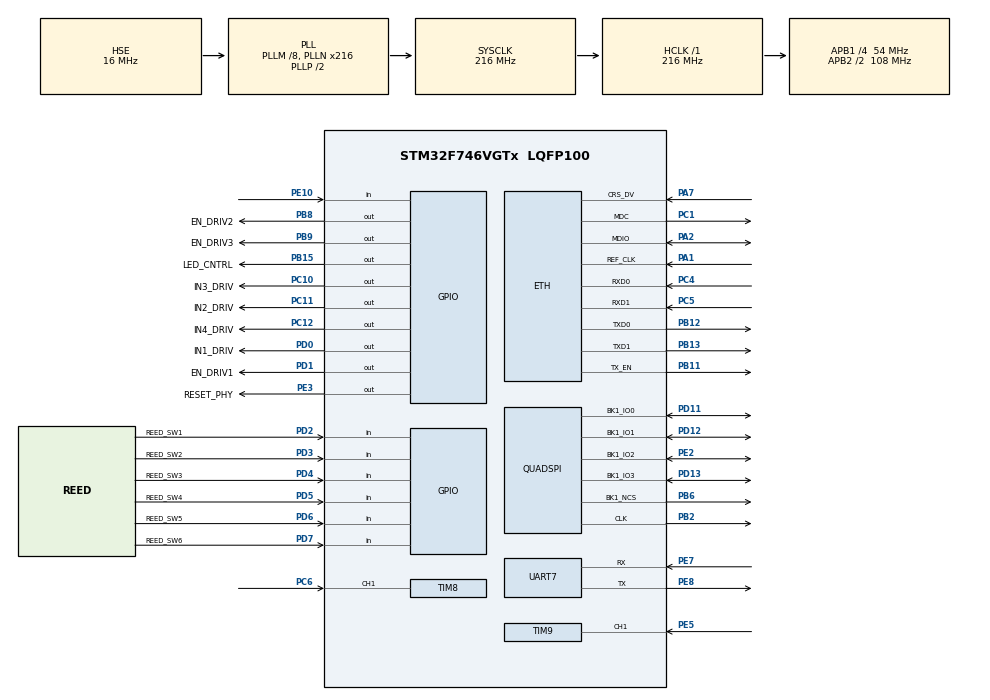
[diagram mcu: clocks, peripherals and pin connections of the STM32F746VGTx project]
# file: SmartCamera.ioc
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CORTEX_M7.AccessPermission_S-Cortex_Memory_Protection_Unit_Region1_Settings_S=MPU_REGION_FULL_ACCESS
CORTEX_M7.AccessPermission_Spec=MPU_REGION_FULL_ACCESS
CORTEX_M7.BaseAddress_S-Cortex_Memory_Protection_Unit_Region1_Settings_S=0x2004C000
CORTEX_M7.BaseAddress_Spec=0x90000000
CORTEX_M7.CPU_ICache=Disabled
CORTEX_M7.DisableExec_S-Cortex_Memory_Protection_Unit_Region1_Settings_S=MPU_INSTRUCTION_ACCESS_DISABLE
CORTEX_M7.Enable_S-Cortex_Memory_Protection_Unit_Region1_Settings_S=MPU_REGION_ENABLE
CORTEX_M7.IsCacheable_Spec=MPU_ACCESS_CACHEABLE
CORTEX_M7.IsShareable_S-Cortex_Memory_Protection_Unit_Region1_Settings_S=MPU_ACCESS_SHAREABLE
CORTEX_M7.IsShareable_Spec=MPU_ACCESS_NOT_SHAREABLE
CORTEX_M7.MPU_Control=__NULL
CORTEX_M7.Size_S-Cortex_Memory_Protection_Unit_Region1_Settings_S=MPU_REGION_SIZE_512B
CORTEX_M7.Size_Spec=MPU_REGION_SIZE_8MB
CORTEX_M7.SubRegionDisable_Spec=0x00
CORTEX_M7.default_mode_Activation=1
ETH.MediaInterface=HAL_ETH_RMII_MODE
ETH.RxMode=ETH_RXINTERRUPT_MODE
FREERTOS.Tasks01=defaultTask,24,256,StartDefaultTask,Default,NULL,Dynamic,NULL,NULL
LWIP.BSP.number=1
LWIP.DEFAULT_THREAD_STACKSIZE=2048
LWIP.GATEWAY_ADDRESS=192.168.100.001
LWIP.HTTPD_ENABLE_HTTPS=0
LWIP.HTTPD_SERVER_AGENT="Variofocus"
LWIP.IP_ADDRESS=192.168.100.010
LWIP.LWIP_DHCP=0
LWIP.LWIP_HTTPD=1
LWIP.LWIP_HTTPD_CGI=1
LWIP.LWIP_HTTPD_CUSTOM_FILES=1
LWIP.LWIP_HTTPD_DYNAMIC_FILE_READ=1
LWIP.LWIP_HTTPD_DYNAMIC_HEADERS=1
LWIP.LWIP_HTTPD_SSI=1
LWIP.LWIP_HTTPD_SSI_BY_FILE_EXTENSION=1
LWIP.LWIP_HTTPD_SUPPORT_POST=0
LWIP.MEM_SIZE=1024 * 10
LWIP.NETMASK_ADDRESS=255.255.255.000
LWIP.TCPIP_THREAD_STACKSIZE=2048
LWIP.Version=v2.1.2_Cube
LWIP0.BSP.STBoard=false
LWIP0.BSP.api=BSP_COMPONENT_DRIVER
LWIP0.BSP.component=LAN8742
LWIP0.BSP.instance=LAN8742
LWIP0.BSP.name=Driver_PHY
LWIP0.BSP.semaphore=S_LAN8742
LWIP0.BSP.solution=LAN8742
Mcu.Family=STM32F7
Mcu.Name=STM32F746VGTx
Mcu.Package=LQFP100
NVIC.ETH_IRQn=true\:5\:0\:false\:false\:true\:true\:false\:true\:true
NVIC.PriorityGroup=NVIC_PRIORITYGROUP_4
NVIC.TIM1_BRK_TIM9_IRQn=true\:5\:0\:false\:false\:true\:true\:true\:true\:true
NVIC.TIM1_UP_TIM10_IRQn=true\:15\:0\:false\:false\:true\:false\:false\:true\:true
NVIC.TIM8_CC_IRQn=true\:5\:0\:false\:false\:true\:true\:true\:true\:true
NVIC.TimeBase=TIM1_UP_TIM10_IRQn
NVIC.TimeBaseIP=TIM1
NVIC.UART7_IRQn=true\:5\:0\:false\:false\:true\:true\:true\:true\:true
PA1.Mode=RMII
PA1.Signal=ETH_REF_CLK
PA13.Mode=Serial_Wire
PA13.Signal=SYS_JTMS-SWDIO
PA14.Mode=Serial_Wire
PA14.Signal=SYS_JTCK-SWCLK
PA2.Mode=RMII
PA2.Signal=ETH_MDIO
PA7.Mode=RMII
PA7.Signal=ETH_CRS_DV
PB11.Mode=RMII
PB11.Signal=ETH_TX_EN
PB12.Mode=RMII
PB12.Signal=ETH_TXD0
PB13.Mode=RMII
PB13.Signal=ETH_TXD1
PB15.GPIO_Label=LED_CNTRL
PB15.Signal=GPIO_Output
PB2.Mode=Single Bank 1
PB2.Signal=QUADSPI_CLK
PB6.Mode=Single Bank 1
PB6.Signal=QUADSPI_BK1_NCS
PB8.GPIO_Label=EN_DRIV2
PB8.Signal=GPIO_Output
PB9.GPIO_Label=EN_DRIV3
PB9.Signal=GPIO_Output
PC1.Mode=RMII
PC1.Signal=ETH_MDC
PC10.GPIO_Label=IN3_DRIV
PC10.Signal=GPIO_Output
PC11.GPIO_Label=IN2_DRIV
PC11.Signal=GPIO_Output
PC12.GPIO_Label=IN4_DRIV
PC12.Signal=GPIO_Output
PC4.Mode=RMII
PC4.Signal=ETH_RXD0
PC5.Mode=RMII
PC5.Signal=ETH_RXD1
PC6.GPIO_PuPd=GPIO_PULLDOWN
PC6.GPIO_Speed=GPIO_SPEED_FREQ_VERY_HIGH
PC6.Signal=S_TIM8_CH1
PD0.GPIO_Label=IN1_DRIV
PD0.Signal=GPIO_Output
PD1.GPIO_Label=EN_DRIV1
PD1.Signal=GPIO_Output
PD11.Mode=Single Bank 1
PD11.Signal=QUADSPI_BK1_IO0
PD12.Mode=Single Bank 1
PD12.Signal=QUADSPI_BK1_IO1
PD13.Mode=Single Bank 1
PD13.Signal=QUADSPI_BK1_IO3
PD2.GPIO_Label=REED_SW1
PD2.GPIO_PuPd=GPIO_PULLDOWN
PD2.Signal=GPIO_Input
PD3.GPIO_Label=REED_SW2
PD3.GPIO_PuPd=GPIO_PULLDOWN
PD3.Signal=GPIO_Input
PD4.GPIO_Label=REED_SW3
PD4.GPIO_PuPd=GPIO_PULLDOWN
PD4.Signal=GPIO_Input
PD5.GPIO_Label=REED_SW4
PD5.GPIO_PuPd=GPIO_PULLDOWN
PD5.Signal=GPIO_Input
PD6.GPIO_Label=REED_SW5
PD6.GPIO_PuPd=GPIO_PULLDOWN
PD6.Signal=GPIO_Input
PD7.GPIO_Label=REED_SW6
PD7.GPIO_PuPd=GPIO_PULLDOWN
PD7.Signal=GPIO_Input
PE10.Signal=GPIO_Input
PE2.Mode=Single Bank 1
PE2.Signal=QUADSPI_BK1_IO2
PE3.GPIO_Label=RESET_PHY
PE3.PinState=GPIO_PIN_SET
PE3.Signal=GPIO_Output
PE5.Signal=S_TIM9_CH1
PE7.Mode=Asynchronous
PE7.Signal=UART7_RX
PE8.Mode=Asynchronous
PE8.Signal=UART7_TX
PH0/OSC_IN.Mode=HSE-External-Oscillator
PH0/OSC_IN.Signal=RCC_OSC_IN
PH1/OSC_OUT.Mode=HSE-External-Oscillator
PH1/OSC_OUT.Signal=RCC_OSC_OUT
ProjectManager.HeapSize=0x200
ProjectManager.StackSize=0x400
ProjectManager.TargetToolchain=CMake
QUADSPI.ChipSelectHighTime=QSPI_CS_HIGH_TIME_2_CYCLE
QUADSPI.ClockPrescaler=7
QUADSPI.FifoThreshold=4
QUADSPI.FlashSize=22
QUADSPI.SampleShifting=QSPI_SAMPLE_SHIFTING_HALFCYCLE
RCC.AHBFreq_Value=216000000
RCC.APB1CLKDivider=RCC_HCLK_DIV4
RCC.APB1Freq_Value=54000000
RCC.APB1TimFreq_Value=108000000
RCC.APB2CLKDivider=RCC_HCLK_DIV2
RCC.APB2Freq_Value=108000000
RCC.APB2TimFreq_Value=216000000
RCC.CortexFreq_Value=216000000
RCC.HCLKFreq_Value=216000000
RCC.HSE_VALUE=16000000
RCC.HSI_VALUE=16000000
RCC.LSE_VALUE=32768
RCC.PLLM=8
RCC.PLLN=216
RCC.PLLQ=9
RCC.PLLSourceVirtual=RCC_PLLSOURCE_HSE
RCC.SYSCLKFreq_VALUE=216000000
RCC.SYSCLKSource=RCC_SYSCLKSOURCE_PLLCLK
RCC.USBFreq_Value=48000000
RCC.VCOOutputFreq_Value=432000000
SH.S_TIM8_CH1.0=TIM8_CH1,TriggerSource_TI1FP1
SH.S_TIM8_CH1.1=TIM8_CH1,Input_Capture1_from_TI1
SH.S_TIM9_CH1.0=TIM9_CH1,Input_Capture1_from_TI1
SH.S_TIM9_CH1.1=TIM9_CH1,TriggerSource_TI1FP1
TIM8.Channel-Input_Capture1_from_TI1=TIM_CHANNEL_1
TIM8.Channel-Input_Capture2_from_TI1_63=TIM_CHANNEL_2
TIM8.ICPolarity_CH2=TIM_INPUTCHANNELPOLARITY_FALLING
TIM8.Prescaler=215
TIM9.Channel-Input_Capture1_from_TI1=TIM_CHANNEL_1
TIM9.Channel-Input_Capture2_from_TI1_63=TIM_CHANNEL_2
TIM9.ICPolarity_CH2=TIM_INPUTCHANNELPOLARITY_FALLING
TIM9.Prescaler=215
VP_FREERTOS_VS_CMSIS_V2.Mode=CMSIS_V2
VP_LWIP_VS_Enabled.Mode=Enabled
VP_RNG_VS_RNG.Mode=RNG_Activate
VP_SYS_VS_tim1.Mode=TIM1
VP_TIM8_VS_ControllerModeReset.Mode=Reset Mode
VP_TIM8_VS_indirect_ch1.Mode=Input_Capture2_from_TI1_63
VP_TIM9_VS_ControllerModeReset.Mode=Reset Mode
VP_TIM9_VS_indirect_ch1.Mode=Input_Capture2_from_TI1_63
board=custom

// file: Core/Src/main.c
/* USER CODE BEGIN Header */
/**
  ******************************************************************************
  * @file           : main.c
  * @brief          : Main program body
  ******************************************************************************
  * @attention
  *
  * Copyright (c) 2026 STMicroelectronics.
  * All rights reserved.
  *
  * This software is licensed under terms that can be found in the LICENSE file
  * in the root directory of this software component.
  * If no LICENSE file comes with this software, it is provided AS-IS.
  *
  ******************************************************************************
  */
/* USER CODE END Header */
#include "main.h"
#include "cmsis_os.h"
#include "lwip.h"

/* USER CODE BEGIN Includes */
#include "cli.h"
#include "httpd.h"
#include "motor_task.h"
#include "pwm_task.h"
#include "tcp.h"
#include "app_storage.h"
/* USER CODE END Includes */

/* USER CODE BEGIN PTD */
#include "lwip.h"
/* USER CODE END PTD */

QSPI_HandleTypeDef hqspi;

RNG_HandleTypeDef hrng;

TIM_HandleTypeDef htim8;
TIM_HandleTypeDef htim9;

UART_HandleTypeDef huart7;

/* Definitions for defaultTask */
osThreadId_t defaultTaskHandle;
const osThreadAttr_t defaultTask_attributes = {
  .name = "defaultTask",
  .stack_size = 256 * 4,
  .priority = (osPriority_t) osPriorityNormal,
};
/* USER CODE BEGIN PV */
volatile BoardState_t  bState;
osMessageQueueId_t pwmQueueHandle;
osMessageQueueId_t motorQueueHandle;
/* USER CODE END PV */

void SystemClock_Config(void);
static void MX_GPIO_Init(void);
static void MX_QUADSPI_Init(void);
static void MX_UART7_Init(void);
static void MX_TIM8_Init(void);
static void MX_TIM9_Init(void);
static void MX_RNG_Init(void);
void StartDefaultTask(void *argument);

/* USER CODE BEGIN PFP */
void StartDhcpTask(void *argument);

// Инициализация роутера
extern void Router_Init(void);
/* USER CODE END PFP */

/* USER CODE BEGIN 0 */
int __io_putchar(int ch) {
  uint8_t c[1];
  c[0] = ch & 0x00FF;
  HAL_UART_Transmit(&huart7, &c[0], 1, 100);
  return ch;
}

osThreadId_t dhcpCheckTaskHandle = NULL;
const osThreadAttr_t dhcpCheck_attributes = {
  .name = "dhcpCheckTask",
  .stack_size = 256 * 4,
  .priority = (osPriority_t) osPriorityNormal,
};

void StartDhcpTask(void *argument) {
  struct netif *nif = netif_default;

  for(;;)
  {
    // Ждём, пока netif поднимется и получит любой адрес, отличный от 0.0.0.0
    if (nif != NULL && netif_is_up(nif) && nif->ip_addr.addr != 0)
    {
      uint8_t ip[4];
      ip[0] = ip4_addr1(&nif->ip_addr);
      ip[1] = ip4_addr2(&nif->ip_addr);
      ip[2] = ip4_addr3(&nif->ip_addr);
      ip[3] = ip4_addr4(&nif->ip_addr);

      printf("\r\nAssigned IP: %d.%d.%d.%d\r\n>", ip[0], ip[1], ip[2], ip[3]);

      // Самоликвидация задачи
      dhcpCheckTaskHandle = NULL;
      osThreadExit(); // Более безопасный способ завершить ТЕКУЩИЙ поток в CMSIS-RTOS v2
    }

    osDelay(500); // Проверяем каждые 500 мс
  }
}

void startDhcpCheckTask(void) {
  // Запускаем поток только если он ещё не работает
  if (dhcpCheckTaskHandle == NULL) {
    dhcpCheckTaskHandle = osThreadNew(StartDhcpTask, NULL, &dhcpCheck_attributes);
  }
}

void DelayWithCountdown(uint32_t seconds)
{
  while (seconds > 0)
  {
    printf("\rWaiting... %2lu s ", seconds);
    fflush(stdout);

    vTaskDelay(pdMS_TO_TICKS(1000));
    seconds--;
  }

  printf("\rDone!            \n");
}
/* USER CODE END 0 */

int main(void)
{

  /* MCU Configuration--------------------------------------------------------*/

  /* Reset of all peripherals, Initializes the Flash interface and the Systick. */
  HAL_Init();

  /* Configure the system clock */
  SystemClock_Config();

  /* Initialize all configured peripherals */
  MX_GPIO_Init();
  MX_QUADSPI_Init();
  MX_UART7_Init();
  MX_TIM8_Init();
  MX_TIM9_Init();
  MX_RNG_Init();
  /* USER CODE BEGIN 2 */

  // 1. Отключаем буферизацию stdout для моментального вывода printf в UART
  setvbuf(stdout, NULL, _IONBF, 0);

  // 2. Дефолты структуры bState
  memset((void*)&bState, 0, sizeof(bState));
  HAL_RNG_GenerateRandomNumber(&hrng, (uint32_t *)&bState.sessionID);
  bState.controlMode = CONTROL_MODE_MVS;
  bState.selectedMotor = -1;
  bState.currentPreset = -1;
  bState.isActiveAutoTest = 0;

  /* USER CODE END 2 */

  /* Init scheduler */
  osKernelInitialize();

  /* USER CODE BEGIN RTOS_QUEUES */
  /* add queues, ... */

  // Очередь команд управления моторами
  motorQueueHandle = osMessageQueueNew(4,sizeof(MotorCommand_t), NULL);
  // Очередь сообщений шим
  pwmQueueHandle = osMessageQueueNew(8, sizeof(PWM_Message_t), NULL);
  /* USER CODE END RTOS_QUEUES */

  /* Create the thread(s) */
  /* creation of defaultTask */
  defaultTaskHandle = osThreadNew(StartDefaultTask, NULL, &defaultTask_attributes);

  /* USER CODE BEGIN RTOS_THREADS */
  /* add threads, ... */
  cliTaskHandle = osThreadNew(vCommandConsoleTask, &huart7, &cliTask_attributes);
  motorTaskHandle = osThreadNew(MotorTask, NULL, &motorTask_attributes);
  pwmTaskHandle = osThreadNew( PWM_Task, NULL, &pwmTask_attributes);
  /* USER CODE END RTOS_THREADS */

  /* Start scheduler */
  osKernelStart();

  /* We should never get here as control is now taken by the scheduler */

  /* Infinite loop */
  while (1)
  {

  }
}

void SystemClock_Config(void)
{
  RCC_OscInitTypeDef RCC_OscInitStruct = {0};
  RCC_ClkInitTypeDef RCC_ClkInitStruct = {0};

  /** Configure the main internal regulator output voltage
  */
  __HAL_RCC_PWR_CLK_ENABLE();
  __HAL_PWR_VOLTAGESCALING_CONFIG(PWR_REGULATOR_VOLTAGE_SCALE1);

  /** Initializes the RCC Oscillators according to the specified parameters
  * in the RCC_OscInitTypeDef structure.
  */
  RCC_OscInitStruct.OscillatorType = RCC_OSCILLATORTYPE_HSE;
  RCC_OscInitStruct.HSEState = RCC_HSE_ON;
  RCC_OscInitStruct.PLL.PLLState = RCC_PLL_ON;
  RCC_OscInitStruct.PLL.PLLSource = RCC_PLLSOURCE_HSE;
  RCC_OscInitStruct.PLL.PLLM = 8;
  RCC_OscInitStruct.PLL.PLLN = 216;
  RCC_OscInitStruct.PLL.PLLP = RCC_PLLP_DIV2;
  RCC_OscInitStruct.PLL.PLLQ = 9;
  if (HAL_RCC_OscConfig(&RCC_OscInitStruct) != HAL_OK)
  {
    Error_Handler();
  }

  /** Activate the Over-Drive mode
  */
  if (HAL_PWREx_EnableOverDrive() != HAL_OK)
  {
    Error_Handler();
  }

  /** Initializes the CPU, AHB and APB buses clocks
  */
  RCC_ClkInitStruct.ClockType = RCC_CLOCKTYPE_HCLK|RCC_CLOCKTYPE_SYSCLK
                              |RCC_CLOCKTYPE_PCLK1|RCC_CLOCKTYPE_PCLK2;
  RCC_ClkInitStruct.SYSCLKSource = RCC_SYSCLKSOURCE_PLLCLK;
  RCC_ClkInitStruct.AHBCLKDivider = RCC_SYSCLK_DIV1;
  RCC_ClkInitStruct.APB1CLKDivider = RCC_HCLK_DIV4;
  RCC_ClkInitStruct.APB2CLKDivider = RCC_HCLK_DIV2;

  if (HAL_RCC_ClockConfig(&RCC_ClkInitStruct, FLASH_LATENCY_7) != HAL_OK)
  {
    Error_Handler();
  }
}

static void MX_QUADSPI_Init(void)
{

  /* QUADSPI parameter configuration*/
  hqspi.Instance = QUADSPI;
  hqspi.Init.ClockPrescaler = 7;
  hqspi.Init.FifoThreshold = 4;
  hqspi.Init.SampleShifting = QSPI_SAMPLE_SHIFTING_HALFCYCLE;
  hqspi.Init.FlashSize = 22;
  hqspi.Init.ChipSelectHighTime = QSPI_CS_HIGH_TIME_2_CYCLE;
  hqspi.Init.ClockMode = QSPI_CLOCK_MODE_0;
  hqspi.Init.FlashID = QSPI_FLASH_ID_1;
  hqspi.Init.DualFlash = QSPI_DUALFLASH_DISABLE;
  if (HAL_QSPI_Init(&hqspi) != HAL_OK)
  {
    Error_Handler();
  }

}

static void MX_RNG_Init(void)
{

  hrng.Instance = RNG;
  if (HAL_RNG_Init(&hrng) != HAL_OK)
  {
    Error_Handler();
  }

}

static void MX_TIM8_Init(void)
{

  TIM_SlaveConfigTypeDef sSlaveConfig = {0};
  TIM_MasterConfigTypeDef sMasterConfig = {0};
  TIM_IC_InitTypeDef sConfigIC = {0};

  htim8.Instance = TIM8;
  htim8.Init.Prescaler = 215;
  htim8.Init.CounterMode = TIM_COUNTERMODE_UP;
  htim8.Init.Period = 65535;
  htim8.Init.ClockDivision = TIM_CLOCKDIVISION_DIV1;
  htim8.Init.RepetitionCounter = 0;
  htim8.Init.AutoReloadPreload = TIM_AUTORELOAD_PRELOAD_DISABLE;
  if (HAL_TIM_Base_Init(&htim8) != HAL_OK)
  {
    Error_Handler();
  }
  if (HAL_TIM_IC_Init(&htim8) != HAL_OK)
  {
    Error_Handler();
  }
  sSlaveConfig.SlaveMode = TIM_SLAVEMODE_RESET;
  sSlaveConfig.InputTrigger = TIM_TS_TI1FP1;
  sSlaveConfig.TriggerPolarity = TIM_INPUTCHANNELPOLARITY_RISING;
  sSlaveConfig.TriggerFilter = 0;
  if (HAL_TIM_SlaveConfigSynchro(&htim8, &sSlaveConfig) != HAL_OK)
  {
    Error_Handler();
  }
  sMasterConfig.MasterOutputTrigger = TIM_TRGO_RESET;
  sMasterConfig.MasterOutputTrigger2 = TIM_TRGO2_RESET;
  sMasterConfig.MasterSlaveMode = TIM_MASTERSLAVEMODE_DISABLE;
  if (HAL_TIMEx_MasterConfigSynchronization(&htim8, &sMasterConfig) != HAL_OK)
  {
    Error_Handler();
  }
  sConfigIC.ICPolarity = TIM_INPUTCHANNELPOLARITY_RISING;
  sConfigIC.ICSelection = TIM_ICSELECTION_DIRECTTI;
  sConfigIC.ICPrescaler = TIM_ICPSC_DIV1;
  sConfigIC.ICFilter = 0;
  if (HAL_TIM_IC_ConfigChannel(&htim8, &sConfigIC, TIM_CHANNEL_1) != HAL_OK)
  {
    Error_Handler();
  }
  sConfigIC.ICPolarity = TIM_INPUTCHANNELPOLARITY_FALLING;
  sConfigIC.ICSelection = TIM_ICSELECTION_INDIRECTTI;
  if (HAL_TIM_IC_ConfigChannel(&htim8, &sConfigIC, TIM_CHANNEL_2) != HAL_OK)
  {
    Error_Handler();
  }

}

static void MX_TIM9_Init(void)
{

  TIM_SlaveConfigTypeDef sSlaveConfig = {0};
  TIM_IC_InitTypeDef sConfigIC = {0};

  htim9.Instance = TIM9;
  htim9.Init.Prescaler = 215;
  htim9.Init.CounterMode = TIM_COUNTERMODE_UP;
  htim9.Init.Period = 65535;
  htim9.Init.ClockDivision = TIM_CLOCKDIVISION_DIV1;
  htim9.Init.AutoReloadPreload = TIM_AUTORELOAD_PRELOAD_DISABLE;
  if (HAL_TIM_Base_Init(&htim9) != HAL_OK)
  {
    Error_Handler();
  }
  if (HAL_TIM_IC_Init(&htim9) != HAL_OK)
  {
    Error_Handler();
  }
  sSlaveConfig.SlaveMode = TIM_SLAVEMODE_RESET;
  sSlaveConfig.InputTrigger = TIM_TS_TI1FP1;
  sSlaveConfig.TriggerPolarity = TIM_INPUTCHANNELPOLARITY_RISING;
  sSlaveConfig.TriggerFilter = 0;
  if (HAL_TIM_SlaveConfigSynchro(&htim9, &sSlaveConfig) != HAL_OK)
  {
    Error_Handler();
  }
  sConfigIC.ICPolarity = TIM_INPUTCHANNELPOLARITY_RISING;
  sConfigIC.ICSelection = TIM_ICSELECTION_DIRECTTI;
  sConfigIC.ICPrescaler = TIM_ICPSC_DIV1;
  sConfigIC.ICFilter = 0;
  if (HAL_TIM_IC_ConfigChannel(&htim9, &sConfigIC, TIM_CHANNEL_1) != HAL_OK)
  {
    Error_Handler();
  }
  sConfigIC.ICPolarity = TIM_INPUTCHANNELPOLARITY_FALLING;
  sConfigIC.ICSelection = TIM_ICSELECTION_INDIRECTTI;
  if (HAL_TIM_IC_ConfigChannel(&htim9, &sConfigIC, TIM_CHANNEL_2) != HAL_OK)
  {
    Error_Handler();
  }

}

static void MX_UART7_Init(void)
{

  huart7.Instance = UART7;
  huart7.Init.BaudRate = 115200;
  huart7.Init.WordLength = UART_WORDLENGTH_8B;
  huart7.Init.StopBits = UART_STOPBITS_1;
  huart7.Init.Parity = UART_PARITY_NONE;
  huart7.Init.Mode = UART_MODE_TX_RX;
  huart7.Init.HwFlowCtl = UART_HWCONTROL_NONE;
  huart7.Init.OverSampling = UART_OVERSAMPLING_16;
  huart7.Init.OneBitSampling = UART_ONE_BIT_SAMPLE_DISABLE;
  huart7.AdvancedInit.AdvFeatureInit = UART_ADVFEATURE_NO_INIT;
  if (HAL_UART_Init(&huart7) != HAL_OK)
  {
    Error_Handler();
  }

}

static void MX_GPIO_Init(void)
{
  GPIO_InitTypeDef GPIO_InitStruct = {0};
  /* USER CODE BEGIN MX_GPIO_Init_1 */

  /*
   * На ножки с герконами обязательно нужно включить подтяжку к земле.
   * Без нее будет вилять сигнал
   */

  /* USER CODE END MX_GPIO_Init_1 */

  /* GPIO Ports Clock Enable */
  __HAL_RCC_GPIOE_CLK_ENABLE();
  __HAL_RCC_GPIOH_CLK_ENABLE();
  __HAL_RCC_GPIOC_CLK_ENABLE();
  __HAL_RCC_GPIOA_CLK_ENABLE();
  __HAL_RCC_GPIOB_CLK_ENABLE();
  __HAL_RCC_GPIOD_CLK_ENABLE();

  /*Configure GPIO pin Output Level */
  HAL_GPIO_WritePin(RESET_PHY_GPIO_Port, RESET_PHY_Pin, GPIO_PIN_SET);

  /*Configure GPIO pin Output Level */
  HAL_GPIO_WritePin(GPIOB, LED_CNTRL_Pin|EN_DRIV2_Pin|EN_DRIV3_Pin, GPIO_PIN_RESET);

  /*Configure GPIO pin Output Level */
  HAL_GPIO_WritePin(GPIOC, IN3_DRIV_Pin|IN2_DRIV_Pin|IN4_DRIV_Pin, GPIO_PIN_RESET);

  /*Configure GPIO pin Output Level */
  HAL_GPIO_WritePin(GPIOD, IN1_DRIV_Pin|EN_DRIV1_Pin, GPIO_PIN_RESET);

  /*Configure GPIO pin : RESET_PHY_Pin */
  GPIO_InitStruct.Pin = RESET_PHY_Pin;
  GPIO_InitStruct.Mode = GPIO_MODE_OUTPUT_PP;
  GPIO_InitStruct.Pull = GPIO_NOPULL;
  GPIO_InitStruct.Speed = GPIO_SPEED_FREQ_LOW;
  HAL_GPIO_Init(RESET_PHY_GPIO_Port, &GPIO_InitStruct);

  /*Configure GPIO pin : PE10 */
  GPIO_InitStruct.Pin = GPIO_PIN_10;
  GPIO_InitStruct.Mode = GPIO_MODE_INPUT;
  GPIO_InitStruct.Pull = GPIO_NOPULL;
  HAL_GPIO_Init(GPIOE, &GPIO_InitStruct);

  /*Configure GPIO pins : LED_CNTRL_Pin EN_DRIV2_Pin EN_DRIV3_Pin */
  GPIO_InitStruct.Pin = LED_CNTRL_Pin|EN_DRIV2_Pin|EN_DRIV3_Pin;
  GPIO_InitStruct.Mode = GPIO_MODE_OUTPUT_PP;
  GPIO_InitStruct.Pull = GPIO_NOPULL;
  GPIO_InitStruct.Speed = GPIO_SPEED_FREQ_LOW;
  HAL_GPIO_Init(GPIOB, &GPIO_InitStruct);

  /*Configure GPIO pins : IN3_DRIV_Pin IN2_DRIV_Pin IN4_DRIV_Pin */
  GPIO_InitStruct.Pin = IN3_DRIV_Pin|IN2_DRIV_Pin|IN4_DRIV_Pin;
  GPIO_InitStruct.Mode = GPIO_MODE_OUTPUT_PP;
  GPIO_InitStruct.Pull = GPIO_NOPULL;
  GPIO_InitStruct.Speed = GPIO_SPEED_FREQ_LOW;
  HAL_GPIO_Init(GPIOC, &GPIO_InitStruct);

  /*Configure GPIO pins : IN1_DRIV_Pin EN_DRIV1_Pin */
  GPIO_InitStruct.Pin = IN1_DRIV_Pin|EN_DRIV1_Pin;
  GPIO_InitStruct.Mode = GPIO_MODE_OUTPUT_PP;
  GPIO_InitStruct.Pull = GPIO_NOPULL;
  GPIO_InitStruct.Speed = GPIO_SPEED_FREQ_LOW;
  HAL_GPIO_Init(GPIOD, &GPIO_InitStruct);

  /*Configure GPIO pins : REED_SW1_Pin REED_SW2_Pin REED_SW3_Pin REED_SW4_Pin
                           REED_SW5_Pin REED_SW6_Pin */
  GPIO_InitStruct.Pin = REED_SW1_Pin|REED_SW2_Pin|REED_SW3_Pin|REED_SW4_Pin
                          |REED_SW5_Pin|REED_SW6_Pin;
  GPIO_InitStruct.Mode = GPIO_MODE_INPUT;
  GPIO_InitStruct.Pull = GPIO_PULLDOWN;
  HAL_GPIO_Init(GPIOD, &GPIO_InitStruct);

}

void StartDefaultTask(void *argument)
{
  /* init code for LWIP */
  MX_LWIP_Init();
  /* USER CODE BEGIN 5 */
  printf("System starting...\r\n");

  if (Storage_Init()) {
    Storage_LoadState();
    printf("Storage initialized successfully!\r\n");
  } else {
    printf("Storage Init Failed! Using fallback IP.\r\n");
    bState.ip[0] = 192;      bState.ip[1] = 168;      bState.ip[2] = 100;    bState.ip[3] = 10;
    bState.netmask[0] = 255; bState.netmask[1] = 255; bState.netmask[2] = 255; bState.netmask[3] = 0;
    bState.gateway[0] = 192; bState.gateway[1] = 168; bState.gateway[2] = 100; bState.gateway[3] = 1;
  }

  //Стартуем веб
  httpd_init();
  Router_Init();
  startDhcpCheckTask();
  uint8_t dir = 0;
  /* Infinite loop */
  for(;;)
  {
    /* Чтобы не делать отдельную задачу под задачу чтение герконов, будем читать в дефолте
     * Читать будем сразу весь порт, чтобы не юзать хал для каждой
     *
     */
    static const uint16_t reedPins[6] = {
      REED_SW1_Pin, REED_SW2_Pin, // [0] = Левый Диафрагмы, [1] = Правый Диафрагмы
      REED_SW3_Pin, REED_SW4_Pin, // [2] = Левый Резкости,  [3] = Правый Резкости
      REED_SW5_Pin, REED_SW6_Pin  // [4] = Левый Фокуса,    [5] = Правый Фокуса
  };

    uint16_t portVal = REED_SW_Port->IDR;
    for (int i = 0; i < 6; i++) {
      bState.stateGercons[i] = (portVal & reedPins[i]) ? GPIO_PIN_SET : GPIO_PIN_RESET;
    }

    osDelay(1);

  }
  /* USER CODE END 5 */
}

void HAL_TIM_PeriodElapsedCallback(TIM_HandleTypeDef *htim)
{
  if (htim->Instance == TIM1)
  {
    HAL_IncTick();
  }
}

void Error_Handler(void)
{
  __disable_irq();
  while (1)
  {
  }
}
